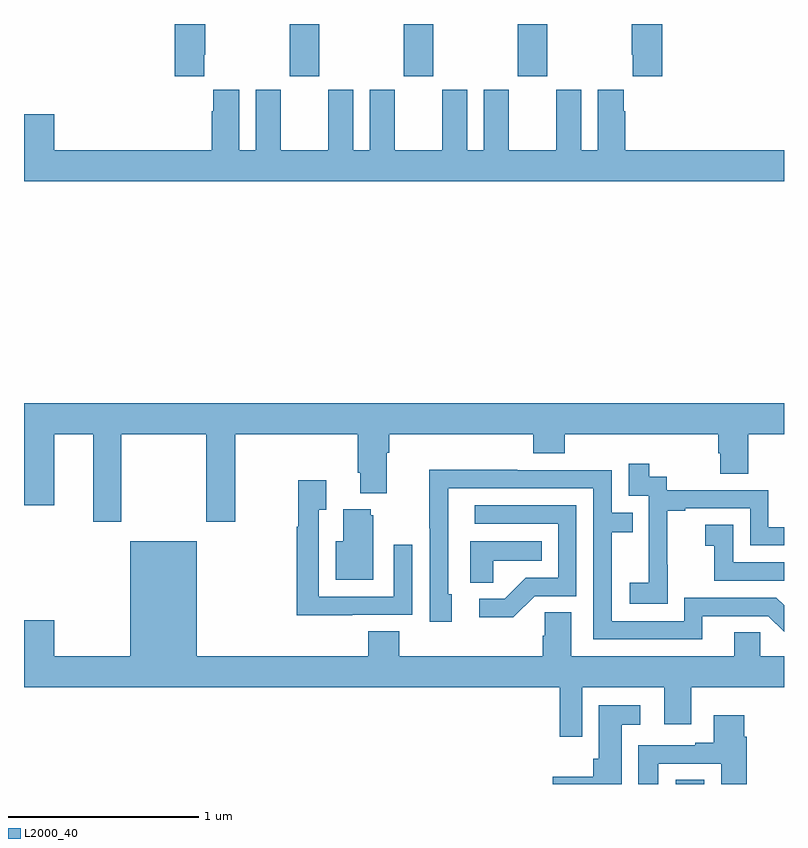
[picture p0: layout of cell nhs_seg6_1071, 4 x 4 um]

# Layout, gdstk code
import gdstk
lib = gdstk.Library(unit=1e-6, precision=1e-09)
def R(c, l, rs):  # rectangles x0, y0, x1, y1
    for r in rs: c.add(gdstk.rectangle(r[:2], r[2:], *l))
def A(c, l, x, y, w, h, nx, ny, dx, dy):  # array of equal rectangles
    R(c, l, [(x+i*dx, y+j*dy, x+i*dx+w, y+j*dy+h) for i in range(nx) for j in range(ny)])
def P(c, l, *ps):  # polygons
    for p in ps: c.add(gdstk.Polygon(p, *l))
L2000_40 = (2000, 40)

nhs_seg6_1071 = lib.new_cell('nhs_seg6_1071')
A(nhs_seg6_1071, L2000_40, 178.399, 945.225, 0.155, 0.275, 3, 1, 0.6, 0)
R(nhs_seg6_1071, L2000_40, [(180.431,941.5,180.58,941.522)])
P(nhs_seg6_1071, L2000_40, [(180.359,945.5),(180.199,945.5),(180.199,945.337),(180.203,945.337),(180.203,945.225),(180.359,945.225)],
  [(177.949,945.337),(177.954,945.337),(177.954,945.5),(177.794,945.5),(177.794,945.225),(177.949,945.225)],
  [(181,944.836),(180.164,944.836),(180.164,945.041),(180.157,945.041),(180.157,945.154),(180.02,945.154),(180.02,944.836),(179.932,944.836),(179.932,945.154),(179.801,945.154),(179.801,944.836),(179.551,944.836),(179.551,945.154),(179.42,945.154),(179.42,944.836),(179.332,944.836),(179.332,945.154),(179.201,945.154),(179.201,944.836),(178.951,944.836),(178.951,945.154),(178.82,945.154),(178.82,944.836),(178.732,944.836),(178.732,945.154),(178.601,945.154),(178.601,944.836),(178.351,944.836),(178.351,945.154),(178.22,945.154),(178.22,944.836),(178.132,944.836),(178.132,945.154),(177.995,945.154),(177.995,945.041),(177.989,945.041),(177.989,944.836),(177.16,944.836),(177.16,945.025),(177,945.025),(177,944.672),(181,944.672)],
  [(177.513,943.34),(177.958,943.34),(177.958,942.879),(178.113,942.879),(178.113,943.34),(178.757,943.34),(178.757,943.138),(178.769,943.138),(178.769,943.031),(178.909,943.031),(178.909,943.244),(178.922,943.244),(178.922,943.34),(179.681,943.34),(179.681,943.241),(179.846,943.241),(179.846,943.34),(180.653,943.34),(180.653,943.242),(180.665,943.242),(180.665,943.132),(180.813,943.132),(180.813,943.34),(181,943.34),(181,943.504),(177,943.504),(177,942.966),(177.16,942.966),(177.16,943.34),(177.365,943.34),(177.365,942.879),(177.513,942.879)],
  [(180.387,942.655),(180.386,942.655),(180.386,942.939),(180.481,942.939),(180.481,942.951),(180.822,942.951),(180.822,942.756),(181,942.756),(181,942.852),(180.918,942.852),(180.918,943.047),(180.384,943.047),(180.384,943.116),(180.292,943.116),(180.292,943.186),(180.183,943.186),(180.183,943.017),(180.288,943.017),(180.288,942.788),(180.287,942.788),(180.287,942.559),(180.189,942.559),(180.189,942.449),(180.387,942.449)],
  [(180.571,942.384),(180.918,942.384),(181,942.302),(181,942.44),(180.96,942.48),(180.474,942.48),(180.474,942.357),(180.093,942.357),(180.093,942.826),(180.203,942.826),(180.203,942.927),(180.093,942.927),(180.093,943.152),(179.597,943.152),(179.597,943.154),(179.134,943.154),(179.134,942.847),(179.136,942.847),(179.136,942.354),(179.251,942.354),(179.251,942.498),(179.232,942.498),(179.232,943.056),(179.997,943.056),(179.997,942.261),(180.571,942.261)],
  [(178.727,942.39),(179.043,942.39),(179.043,942.76),(178.947,942.76),(178.947,942.486),(178.551,942.486),(178.551,942.943),(178.591,942.943),(178.591,943.099),(178.443,943.099),(178.443,942.854),(178.435,942.854),(178.435,942.389),(178.727,942.389)],
  [(179.688,942.489),(179.907,942.489),(179.907,942.966),(179.373,942.966),(179.373,942.87),(179.811,942.87),(179.811,942.585),(179.642,942.585),(179.531,942.474),(179.397,942.474),(179.397,942.377),(179.575,942.377)],
  [(178.837,942.915),(178.826,942.915),(178.826,942.946),(178.679,942.946),(178.679,942.778),(178.64,942.778),(178.64,942.575),(178.837,942.575)],
  [(181,942.666),(180.732,942.666),(180.732,942.865),(180.585,942.865),(180.585,942.755),(180.634,942.755),(180.634,942.57),(181,942.57)],
  [(179.469,942.674),(179.726,942.674),(179.726,942.778),(179.348,942.778),(179.348,942.559),(179.469,942.559)],
  [(179.937,942.008),(180.371,942.008),(180.371,941.814),(180.511,941.814),(180.511,942.008),(181,942.008),(181,942.172),(180.876,942.172),(180.876,942.299),(180.737,942.299),(180.737,942.172),(179.881,942.172),(179.881,942.404),(179.742,942.404),(179.742,942.281),(179.729,942.281),(179.729,942.172),(178.976,942.172),(178.976,942.305),(178.811,942.305),(178.811,942.172),(177.91,942.172),(177.91,942.778),(177.56,942.778),(177.56,942.172),(177.16,942.172),(177.16,942.361),(177,942.361),(177,942.008),(179.821,942.008),(179.821,941.748),(179.937,941.748)],
  [(180.145,941.813),(180.244,941.813),(180.244,941.914),(180.026,941.914),(180.026,941.634),(179.996,941.634),(179.996,941.539),(179.784,941.539),(179.784,941.5),(180.145,941.5)],
  [(180.337,941.607),(180.671,941.607),(180.671,941.5),(180.803,941.5),(180.803,941.75),(180.79,941.75),(180.79,941.863),(180.629,941.863),(180.629,941.716),(180.533,941.716),(180.533,941.703),(180.233,941.703),(180.233,941.5),(180.337,941.5)])

lib.write_gds('nhs_seg6_1071.gds')
